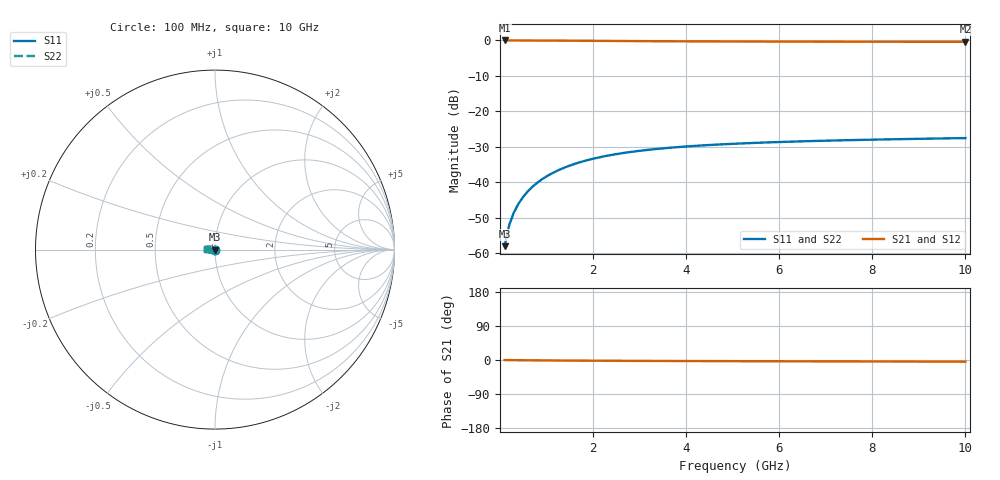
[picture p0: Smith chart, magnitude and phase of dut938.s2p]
! Touchstone file exported from HFSS 2024.1.0
!  File:  C:/UserFiles/LocalFiles/RDL_TSV_Batchsim/temp_TSV1_938_1779947761.aedt
!  Generated:  02:01:19 PM May 28, 2026
!  Design:  TSV1
!  Project:  temp_TSV1_938_1779947761
!  Setup:  Setup1
!  Solution:  Sweep
! Variables:
!  dtsv = 13.25um
!  hbump = 3um
!  htsv = 64.51um
!  lrdl = 252.1521522um
!  p = 40
!  p1 = 58.1um
!  t = 500um
!  trdl = 3um
!  wrdl = 24.89489489um
# GHz S MA R 50.000000
! Terminal data exported
! Port[1] = TSV22_T1
! Port[2] = TSV22_T2
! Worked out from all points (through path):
!   100 points, 100 MHz to 10 GHz, reference 50 ohm
!   highest |S21| = 0.00 dB at 100 MHz (marker M1); lowest = -0.4 dB at 10 GHz (marker M2)
!   lowest |S11| = -58.0 dB at 100 MHz (marker M3), VSWR 1.00, Z = 50 - j0.126 ohm
!   |S11| at or under -10 dB: start of sweep to end of sweep
!   |S22| runs from -58.0 to -27.5 dB; largest |S21 - S12| = 1.1e-14
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0.1  0.001265 -88.6  0.9999 -0.1  0.9999 -0.1  0.001265 -88.6
! Gamma 0 0 0 0
! Port Impedance 50 0 50 0
0.2  0.002527 -92.1  0.9997 -0.2  0.9997 -0.2  0.002527 -92.1
0.3  0.003787 -94.6  0.9995 -0.4  0.9995 -0.4  0.003787 -94.6
0.4  0.005039 -96.8  0.9992 -0.5  0.9992 -0.5  0.005039 -96.8
0.5  0.006278 -99.0  0.9988 -0.6  0.9988 -0.6  0.006278 -99.0
0.6  0.0075 -101.0  0.9983 -0.7  0.9983 -0.7  0.0075 -101.0
0.7  0.008701 -103.1  0.9978 -0.8  0.9978 -0.8  0.008701 -103.1
0.8  0.009878 -105.0  0.9972 -0.9  0.9972 -0.9  0.009878 -105.0
0.9  0.01103 -107.0  0.9965 -1.0  0.9965 -1.0  0.01103 -107.0
1.1  0.01324 -110.7  0.9951 -1.2  0.9951 -1.2  0.01324 -110.7
1.4  0.01631 -116.0  0.9926 -1.5  0.9926 -1.5  0.01631 -116.0
1.6  0.0182 -119.4  0.9909 -1.6  0.9909 -1.6  0.0182 -119.4
1.8  0.01994 -122.5  0.9891 -1.8  0.9891 -1.8  0.01994 -122.5
2.1  0.02231 -127.0  0.9864 -2.0  0.9864 -2.0  0.02231 -127.0
2.5  0.02505 -132.4  0.983 -2.2  0.983 -2.2  0.02505 -132.4
2.9  0.02737 -137.2  0.9798 -2.4  0.9798 -2.4  0.02737 -137.2
3.4  0.02977 -142.6  0.9762 -2.5  0.9762 -2.5  0.02977 -142.6
4.2  0.03274 -149.9  0.9715 -2.8  0.9715 -2.8  0.03274 -149.9
5.1  0.03522 -156.7  0.9673 -3.1  0.9673 -3.1  0.03522 -156.7
6.7  0.03827 -166.3  0.9622 -3.5  0.9622 -3.5  0.03827 -166.3
8.4  0.04051 -174.4  0.9588 -3.9  0.9588 -3.9  0.04051 -174.4
10  0.04215 179.2  0.9565 -4.4  0.9565 -4.4  0.04215 179.2
